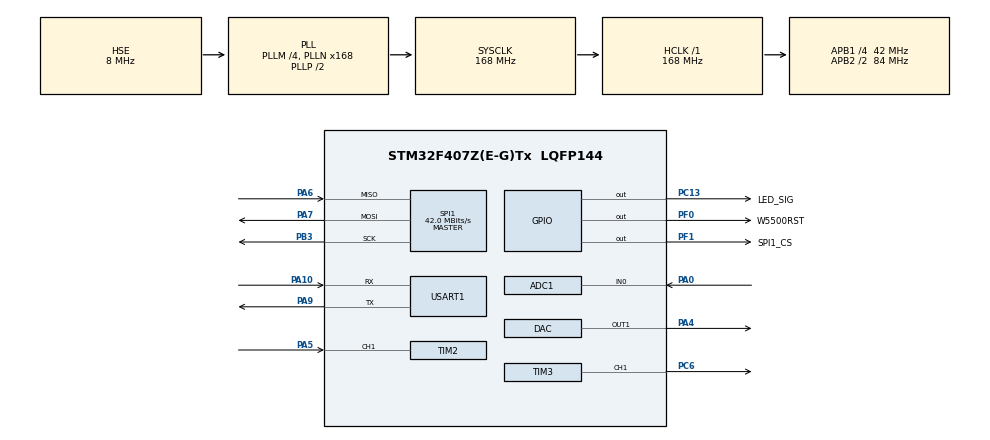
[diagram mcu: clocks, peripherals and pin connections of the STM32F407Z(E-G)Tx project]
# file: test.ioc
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ADC1.Channel-3\#ChannelRegularConversion=ADC_CHANNEL_0
ADC1.NbrOfConversion=1
ADC1.NbrOfConversionFlag=1
ADC1.Rank-3\#ChannelRegularConversion=1
ADC1.SamplingTime-3\#ChannelRegularConversion=ADC_SAMPLETIME_3CYCLES
ADC1.master=1
DAC.DAC_Trigger=DAC_TRIGGER_T4_TRGO
Dma.DAC1.0.Direction=DMA_MEMORY_TO_PERIPH
Dma.DAC1.0.FIFOMode=DMA_FIFOMODE_DISABLE
Dma.DAC1.0.Instance=DMA1_Stream5
Dma.DAC1.0.MemDataAlignment=DMA_MDATAALIGN_HALFWORD
Dma.DAC1.0.MemInc=DMA_MINC_ENABLE
Dma.DAC1.0.Mode=DMA_CIRCULAR
Dma.DAC1.0.PeriphDataAlignment=DMA_PDATAALIGN_HALFWORD
Dma.DAC1.0.PeriphInc=DMA_PINC_DISABLE
Dma.DAC1.0.Priority=DMA_PRIORITY_LOW
Dma.Request0=DAC1
FREERTOS.Tasks01=ComTask,8,128,StartComTask,Default,NULL,Dynamic,NULL,NULL;MainTask,24,128,StartMainTask,Default,NULL,Dynamic,NULL,NULL
FREERTOS.configENABLE_FPU=1
Mcu.Family=STM32F4
Mcu.Name=STM32F407Z(E-G)Tx
Mcu.Package=LQFP144
NVIC.PriorityGroup=NVIC_PRIORITYGROUP_4
NVIC.TIM2_IRQn=true\:5\:0\:false\:false\:true\:true\:true\:true
NVIC.TIM5_IRQn=true\:15\:0\:false\:false\:true\:false\:false\:true
NVIC.TimeBase=TIM5_IRQn
NVIC.TimeBaseIP=TIM5
NVIC.USART1_IRQn=true\:5\:0\:false\:false\:true\:true\:true\:true
PA0-WKUP.Signal=ADCx_IN0
PA10.Mode=Asynchronous
PA10.Signal=USART1_RX
PA13.Mode=Serial_Wire
PA13.Signal=SYS_JTMS-SWDIO
PA14.Mode=Serial_Wire
PA14.Signal=SYS_JTCK-SWCLK
PA4.Signal=COMP_DAC1_group
PA5.Signal=S_TIM2_CH1_ETR
PA6.Mode=Full_Duplex_Master
PA6.Signal=SPI1_MISO
PA7.Mode=Full_Duplex_Master
PA7.Signal=SPI1_MOSI
PA9.Mode=Asynchronous
PA9.Signal=USART1_TX
PB3.Mode=Full_Duplex_Master
PB3.Signal=SPI1_SCK
PC13-ANTI_TAMP.GPIO_Label=LED_SIG
PC13-ANTI_TAMP.PinState=GPIO_PIN_RESET
PC13-ANTI_TAMP.Signal=GPIO_Output
PC14-OSC32_IN.Mode=LSE-External-Oscillator
PC14-OSC32_IN.Signal=RCC_OSC32_IN
PC15-OSC32_OUT.Mode=LSE-External-Oscillator
PC15-OSC32_OUT.Signal=RCC_OSC32_OUT
PC6.Signal=S_TIM3_CH1
PF0.GPIO_Label=W5500RST
PF0.GPIO_Speed=GPIO_SPEED_FREQ_VERY_HIGH
PF0.Signal=GPIO_Output
PF1.GPIO_Label=SPI1_CS
PF1.GPIO_Speed=GPIO_SPEED_FREQ_VERY_HIGH
PF1.Signal=GPIO_Output
PH0-OSC_IN.Mode=HSE-External-Oscillator
PH0-OSC_IN.Signal=RCC_OSC_IN
PH1-OSC_OUT.Mode=HSE-External-Oscillator
PH1-OSC_OUT.Signal=RCC_OSC_OUT
ProjectManager.HeapSize=0x200
ProjectManager.StackSize=0x400
ProjectManager.TargetToolchain=MDK-ARM V5
RCC.48MHZClocksFreq_Value=84000000
RCC.AHBFreq_Value=168000000
RCC.APB1CLKDivider=RCC_HCLK_DIV4
RCC.APB1Freq_Value=42000000
RCC.APB1TimFreq_Value=84000000
RCC.APB2CLKDivider=RCC_HCLK_DIV2
RCC.APB2Freq_Value=84000000
RCC.APB2TimFreq_Value=168000000
RCC.CortexFreq_Value=168000000
RCC.HCLKFreq_Value=168000000
RCC.HSE_VALUE=8000000
RCC.HSI_VALUE=16000000
RCC.PLLM=4
RCC.PLLN=168
RCC.PLLSourceVirtual=RCC_PLLSOURCE_HSE
RCC.SYSCLKFreq_VALUE=168000000
RCC.SYSCLKSource=RCC_SYSCLKSOURCE_PLLCLK
RCC.VCOOutputFreq_Value=336000000
SH.ADCx_IN0.0=ADC1_IN0,IN0
SH.COMP_DAC1_group.0=DAC_OUT1,DAC_OUT1
SH.S_TIM2_CH1_ETR.0=TIM2_CH1,Input_Capture1_from_TI1
SH.S_TIM2_CH1_ETR.1=TIM2_CH1,TriggerSource_TI1FP1
SH.S_TIM3_CH1.0=TIM3_CH1,PWM Generation1 CH1
SPI1.CalculateBaudRate=42.0 MBits/s
SPI1.Direction=SPI_DIRECTION_2LINES
SPI1.Mode=SPI_MODE_MASTER
SPI1.VirtualType=VM_MASTER
TIM2.AutoReloadPreload=TIM_AUTORELOAD_PRELOAD_ENABLE
TIM2.Channel-Input_Capture1_from_TI1=TIM_CHANNEL_1
TIM2.Channel-Input_Capture2_from_TI1_63=TIM_CHANNEL_2
TIM2.ICFilter_CH1=4
TIM2.ICPolarity_CH2=TIM_INPUTCHANNELPOLARITY_FALLING
TIM2.Period=0xFFFFFFFF
TIM2.Prescaler=83
TIM2.TIM_MasterOutputTrigger=TIM_TRGO_RESET
TIM3.Channel-PWM\ Generation1\ CH1=TIM_CHANNEL_1
TIM3.Period=1000-1
TIM3.Prescaler=83
TIM3.Pulse-PWM\ Generation1\ CH1=500
TIM4.Period=100-1
TIM4.Prescaler=83
TIM4.TIM_MasterOutputTrigger=TIM_TRGO_UPDATE
USART1.VirtualMode=VM_ASYNC
VP_FREERTOS_VS_CMSIS_V2.Mode=CMSIS_V2
VP_SYS_VS_tim5.Mode=TIM5
VP_TIM2_VS_ControllerModeReset.Mode=Reset Mode
VP_TIM2_VS_indirect_ch1.Mode=Input_Capture2_from_TI1_63
VP_TIM3_VS_ClockSourceINT.Mode=Internal
VP_TIM4_VS_ClockSourceINT.Mode=Internal
VP_TIM6_VS_ClockSourceINT.Mode=Enable_Timer
board=custom

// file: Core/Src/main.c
/* USER CODE BEGIN Header */
/**
  ******************************************************************************
  * @file           : main.c
  * @brief          : Main program body
  ******************************************************************************
  * @attention
  *
  * Copyright (c) 2023 STMicroelectronics.
  * All rights reserved.
  *
  * This software is licensed under terms that can be found in the LICENSE file
  * in the root directory of this software component.
  * If no LICENSE file comes with this software, it is provided AS-IS.
  *
  ******************************************************************************
  */
/* USER CODE END Header */
#include "main.h"
#include "cmsis_os.h"
#include "adc.h"
#include "dac.h"
#include "dma.h"
#include "spi.h"
#include "tim.h"
#include "usart.h"
#include "gpio.h"

/* USER CODE BEGIN Includes */
#include "relocate.h"
/* USER CODE END Includes */

/* USER CODE BEGIN PV */
uint16_t period_cnt = 0;
uint16_t delta_cnt = 0;
float freq = 0;
float duty = 0;
uint32_t dac_output = 500;
uint16_t change_flag = 0;
/* USER CODE END PV */

void SystemClock_Config(void);
void MX_FREERTOS_Init(void);

int main(void)
{

  /* MCU Configuration--------------------------------------------------------*/

  /* Reset of all peripherals, Initializes the Flash interface and the Systick. */
  HAL_Init();

  /* Configure the system clock */
  SystemClock_Config();

  /* Initialize all configured peripherals */
  MX_GPIO_Init();
  MX_USART1_UART_Init();
  MX_TIM2_Init();
  MX_DMA_Init();
  MX_DAC_Init();
  MX_SPI1_Init();
  MX_TIM6_Init();
  MX_ADC1_Init();
  MX_TIM3_Init();
  MX_TIM4_Init();
  /* USER CODE BEGIN 2 */
  HAL_TIM_PWM_Start(&htim3, TIM_CHANNEL_1);
  HAL_TIM_Base_Start_IT(&htim2);
  HAL_TIM_Base_Start_IT(&htim4);
  HAL_TIM_IC_Start_IT(&htim2, TIM_CHANNEL_1);
  HAL_TIM_IC_Start_IT(&htim2, TIM_CHANNEL_2);

  HAL_DAC_Start_DMA(&hdac, DAC_CHANNEL_1, &dac_output, 1, DAC_ALIGN_12B_R);

  /* USER CODE END 2 */

  /* Init scheduler */
  osKernelInitialize();  /* Call init function for freertos objects (in freertos.c) */
  MX_FREERTOS_Init();
  /* Start scheduler */
  osKernelStart();

  /* We should never get here as control is now taken by the scheduler */
  /* Infinite loop */
  while (1)
  {

  }
}

void SystemClock_Config(void)
{
  RCC_OscInitTypeDef RCC_OscInitStruct = {0};
  RCC_ClkInitTypeDef RCC_ClkInitStruct = {0};

  /** Configure the main internal regulator output voltage
  */
  __HAL_RCC_PWR_CLK_ENABLE();
  __HAL_PWR_VOLTAGESCALING_CONFIG(PWR_REGULATOR_VOLTAGE_SCALE1);
  /** Initializes the RCC Oscillators according to the specified parameters
  * in the RCC_OscInitTypeDef structure.
  */
  RCC_OscInitStruct.OscillatorType = RCC_OSCILLATORTYPE_HSE;
  RCC_OscInitStruct.HSEState = RCC_HSE_ON;
  RCC_OscInitStruct.PLL.PLLState = RCC_PLL_ON;
  RCC_OscInitStruct.PLL.PLLSource = RCC_PLLSOURCE_HSE;
  RCC_OscInitStruct.PLL.PLLM = 4;
  RCC_OscInitStruct.PLL.PLLN = 168;
  RCC_OscInitStruct.PLL.PLLP = RCC_PLLP_DIV2;
  RCC_OscInitStruct.PLL.PLLQ = 4;
  if (HAL_RCC_OscConfig(&RCC_OscInitStruct) != HAL_OK)
  {
    Error_Handler();
  }
  /** Initializes the CPU, AHB and APB buses clocks
  */
  RCC_ClkInitStruct.ClockType = RCC_CLOCKTYPE_HCLK|RCC_CLOCKTYPE_SYSCLK
                              |RCC_CLOCKTYPE_PCLK1|RCC_CLOCKTYPE_PCLK2;
  RCC_ClkInitStruct.SYSCLKSource = RCC_SYSCLKSOURCE_PLLCLK;
  RCC_ClkInitStruct.AHBCLKDivider = RCC_SYSCLK_DIV1;
  RCC_ClkInitStruct.APB1CLKDivider = RCC_HCLK_DIV4;
  RCC_ClkInitStruct.APB2CLKDivider = RCC_HCLK_DIV2;

  if (HAL_RCC_ClockConfig(&RCC_ClkInitStruct, FLASH_LATENCY_5) != HAL_OK)
  {
    Error_Handler();
  }
}

/* USER CODE BEGIN 4 */
void HAL_TIM_IC_CaptureCallback(TIM_HandleTypeDef *htim)
{
    if(htim->Instance == TIM2)
    {
        if(htim->Channel == HAL_TIM_ACTIVE_CHANNEL_1)
        {
            period_cnt = HAL_TIM_ReadCapturedValue(htim,TIM_CHANNEL_1)+1;
            freq = 1000000 / (float)period_cnt;
            duty = (float)delta_cnt / period_cnt*100;

        }

        else if(htim->Channel == HAL_TIM_ACTIVE_CHANNEL_2)
        {
            delta_cnt =  HAL_TIM_ReadCapturedValue(htim,TIM_CHANNEL_2)+1;
			change_flag = 1;
        }

    }

}
/* USER CODE END 4 */

void HAL_TIM_PeriodElapsedCallback(TIM_HandleTypeDef *htim)
{
  if (htim->Instance == TIM5) {
    HAL_IncTick();
  }
}

void Error_Handler(void)
{
  __disable_irq();
  while (1)
  {
  }
}

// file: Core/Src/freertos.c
/* USER CODE BEGIN Header */
/**
  ******************************************************************************
  * File Name          : freertos.c
  * Description        : Code for freertos applications
  ******************************************************************************
  * @attention
  *
  * Copyright (c) 2023 STMicroelectronics.
  * All rights reserved.
  *
  * This software is licensed under terms that can be found in the LICENSE file
  * in the root directory of this software component.
  * If no LICENSE file comes with this software, it is provided AS-IS.
  *
  ******************************************************************************
  */
/* USER CODE END Header */

#include "FreeRTOS.h"
#include "task.h"
#include "main.h"
#include "cmsis_os.h"

/* USER CODE BEGIN Includes */

#include "relocate.h"
#include "tim.h"
#include "stm32f4xx_hal_tim.h"
#include "pid.h"

/* USER CODE END Includes */

/* USER CODE BEGIN Variables */
static float dt_period = 0.1;
static float dt = 0;
extern float freq;
extern float duty;
extern uint32_t dac_output;
extern uint16_t change_flag;
static struct pid_params pid;
static float setPoint = 30;
/* USER CODE END Variables */
/* Definitions for ComTask */
osThreadId_t ComTaskHandle;
const osThreadAttr_t ComTask_attributes = {
  .name = "ComTask",
  .stack_size = 128 * 4,
  .priority = (osPriority_t) osPriorityLow,
};
/* Definitions for MainTask */
osThreadId_t MainTaskHandle;
const osThreadAttr_t MainTask_attributes = {
  .name = "MainTask",
  .stack_size = 128 * 4,
  .priority = (osPriority_t) osPriorityNormal,
};

void StartComTask(void *argument);
void StartMainTask(void *argument);

void MX_FREERTOS_Init(void); /* (MISRA C 2004 rule 8.1) */

void MX_FREERTOS_Init(void) {
  /* USER CODE BEGIN Init */
  init_pid(&pid, 5, 0,0,setPoint);

  /* USER CODE END Init */

  /* Create the thread(s) */
  /* creation of ComTask */
  ComTaskHandle = osThreadNew(StartComTask, NULL, &ComTask_attributes);

  /* creation of MainTask */
  MainTaskHandle = osThreadNew(StartMainTask, NULL, &MainTask_attributes);

}

void StartComTask(void *argument)
{
  /* USER CODE BEGIN StartComTask */
  /* Infinite loop */
  for(;;)
  {
  //TEST DAC output
  // if(dac_output < 4095)
  // {
  //   dac_output += 100;
  // }
  // else
  // {
  //   dac_output = 0;
  // }
  // printf("dac value: %d", dac_output);
  // osDelay(100);
  // __HAL_TIM_SET_COMPARE(&htim3, TIM_CHANNEL_1, 250);
  // osDelay(2000);
  printf("BASIC:freq: %f, duty: %f,DAC_OUT: %d,change_flag: %d\n", freq, duty, dac_output,change_flag);

  if(change_flag == 1) {

    float pid_output = update(&pid, duty, dt);
	printf("CHANGE: pid_output = %f,change_flag:%d, pid_integral:%f, pid_lasterror:%f\n", pid.output,change_flag, pid.integral, pid.last_error);

	printf("PID_PARAMS: Kp = %f, Ki = %f, Kd = %f\n", pid.kp, pid.ki,pid.kd);

	dac_output = dac_output - pid.output;
	if(dac_output < 148) {
	    	dac_output = 148;
	}
	if(dac_output > 4095) {
		dac_output = 4095;
	}
    change_flag = 0;
	dt = dt_period;
  }
  else
  {
	  dt += dt_period;
	  if(dt > 1)
	  {
		  dt = 1;
	  }
  }

  //printf("freq: %f, duty: %f,DAC_OUT: %d\n", freq, duty, dac_output);
  // __HAL_TIM_SET_COMPARE(&htim3, TIM_CHANNEL_1, 500);
  osDelay(10);
  // printf("freq: %f, duty: %f\n", freq, duty);
  }
  /* USER CODE END StartComTask */
}

void StartMainTask(void *argument)
{
  /* USER CODE BEGIN StartMainTask */
  /* Infinite loop */
  for(;;)
  {
	HAL_GPIO_TogglePin(LED_SIG_GPIO_Port, LED_SIG_Pin);
	printf("TEST_LED_ONCE\n");
	printf("R\n");
    osDelay(2000);
  }
  /* USER CODE END StartMainTask */
}
